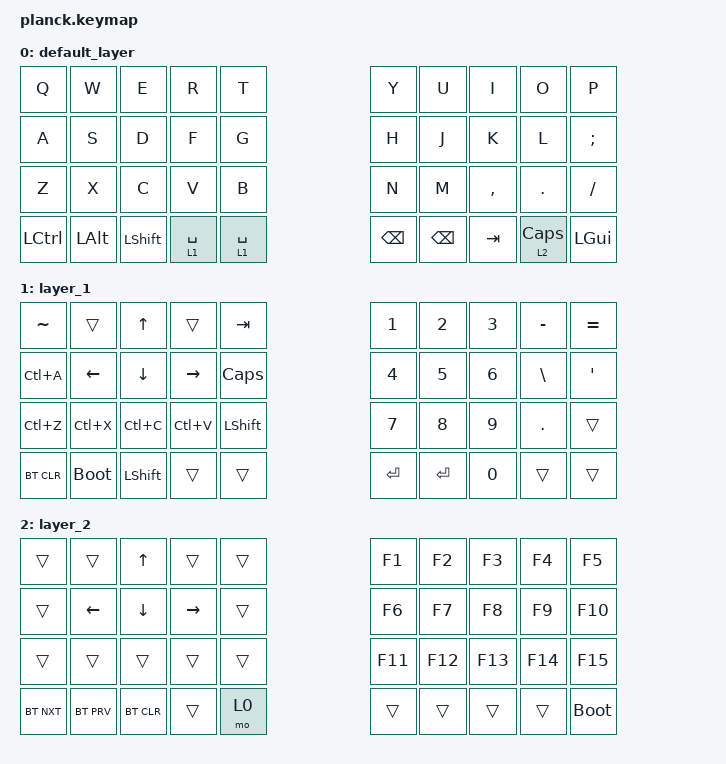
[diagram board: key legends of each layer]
#include <behaviors/toggle_io.dtsi> // for toggle behavior
#include <behaviors/on_io.dtsi> // for on behavior
#include <behaviors/off_io.dtsi> // for off behavior
#include <behaviors.dtsi>
#include <dt-bindings/zmk/bt.h>
#include <dt-bindings/zmk/keys.h>

// / {
//     chosen {
//         zmk,physical-layout = &matrix_physical_layout;
//     };
// };

/ {
    combos {
        compatible = "zmk,combos";

        qa {
            bindings = <&kp NUMBER_1>;
            key-positions = <0 10>;
        };

        ws {
            bindings = <&kp NUMBER_2>;
            key-positions = <1 11>;
        };

        ed {
            bindings = <&kp NUMBER_3>;
            key-positions = <2 12>;
        };

        rf {
            bindings = <&kp NUMBER_4>;
            key-positions = <3 13>;
        };

        tg {
            bindings = <&kp NUMBER_5>;
            key-positions = <4 14>;
        };

        yh {
            bindings = <&kp NUMBER_6>;
            key-positions = <5 15>;
        };

        uj {
            bindings = <&kp NUMBER_7>;
            key-positions = <6 16>;
        };

        ik {
            bindings = <&kp NUMBER_8>;
            key-positions = <7 17>;
        };

        ol {
            bindings = <&kp NUMBER_9>;
            key-positions = <8 18>;
        };

        p {
            bindings = <&kp NUMBER_0>;
            key-positions = <9 19>;
        };

        qw {
            bindings = <&kp ESC>;
            key-positions = <0 1>;
        };

        as {
            bindings = <&kp UP>;
            key-positions = <10 11>;
        };

        sd {
            bindings = <&kp DOWN>;
            key-positions = <11 12>;
        };

        df {
            bindings = <&kp LEFT>;
            key-positions = <12 13>;
        };

        fg {
            bindings = <&kp RIGHT>;
            key-positions = <13 14>;
        };

        IO {
            bindings = <&kp LEFT_BRACKET>;
            key-positions = <7 8>;
        };

        OP {
            bindings = <&kp RIGHT_BRACKET>;
            key-positions = <8 9>;
        };

        JK {
            bindings = <&kp ENTER>;
            key-positions = <16 17>;
        };
    };

    keymap {
        compatible = "zmk,keymap";

        default_layer {
            // --------------------------------------------------------------------------------------------------------------------------------------------------------------------
            // |   ESC   |    Q    |    W    |    E    |    R    |    T    |                                          |    Y    |    U    |    I    |    O    |    P    |    \    |
            // |   TAB   |    A    |    S    |    D    |    F    |    G    |                                          |    H    |    J    |    K    |    L    |    ;    |    '    |
            // |  SHIFT  |    Z    |    X    |    C    |    V    |    B    | CTRL+A  | CTRL+C  |  |  CTRL+V |  CTRL+X |    N    |    M    |    ,    |    .    |    /    |  R CTRL |
            //                               |   GUI   |   DEL   | RETURN  |  SPACE  | ESCAPE  |  |  RETURN |  SPACE  |   TAB   |   BSPC  |  R ALT  |

            bindings = <
&kp Q      &kp W     &kp E      &kp R        &kp T            &kp Y          &kp U          &kp I      &kp O           &kp P
&kp A      &kp S     &kp D      &kp F        &kp G            &kp H          &kp J          &kp K      &kp L           &kp SEMICOLON
&kp Z      &kp X     &kp C      &kp V        &kp B            &kp N          &kp M          &kp COMMA  &kp DOT         &kp FSLH
&kp LCTRL  &kp LALT  &kp LSHFT  &lt 1 SPACE  &lt 1 SPACE      &kp BACKSPACE  &kp BACKSPACE  &kp TAB    &lt 2 CAPSLOCK  &kp LGUI
            >;
        };

        layer_1 {
            bindings = <
&kp TILDE   &trans          &kp UP_ARROW    &trans           &kp TAB        &kp NUMBER_1  &kp NUMBER_2  &kp NUMBER_3  &kp MINUS      &kp EQUAL
&kp LC(A)   &kp LEFT_ARROW  &kp DOWN_ARROW  &kp RIGHT_ARROW  &kp CAPS       &kp NUMBER_4  &kp NUMBER_5  &kp NUMBER_6  &kp BACKSLASH  &kp SINGLE_QUOTE
&kp LC(Z)   &kp LC(X)       &kp LC(C)       &kp LC(V)        &kp LSHFT      &kp NUMBER_7  &kp NUMBER_8  &kp NUMBER_9  &kp PERIOD     &trans
&bt BT_CLR  &bootloader     &kp LSHFT       &trans           &trans         &kp ENTER     &kp ENTER     &kp NUMBER_0  &trans         &trans
            >;
        };

        layer_2 {
            bindings = <
&trans      &trans      &kp UP_ARROW    &trans           &trans      &kp F1   &kp F2   &kp F3   &kp F4   &kp F5
&trans      &kp LEFT    &kp DOWN_ARROW  &kp RIGHT_ARROW  &trans      &kp F6   &kp F7   &kp F8   &kp F9   &kp F10
&trans      &trans      &trans          &trans           &trans      &kp F11  &kp F12  &kp F13  &kp F14  &kp F15
&bt BT_NXT  &bt BT_PRV  &bt BT_CLR      &trans           &mo 0       &trans   &trans   &trans   &trans   &bootloader
            >;
        };
    };
};
